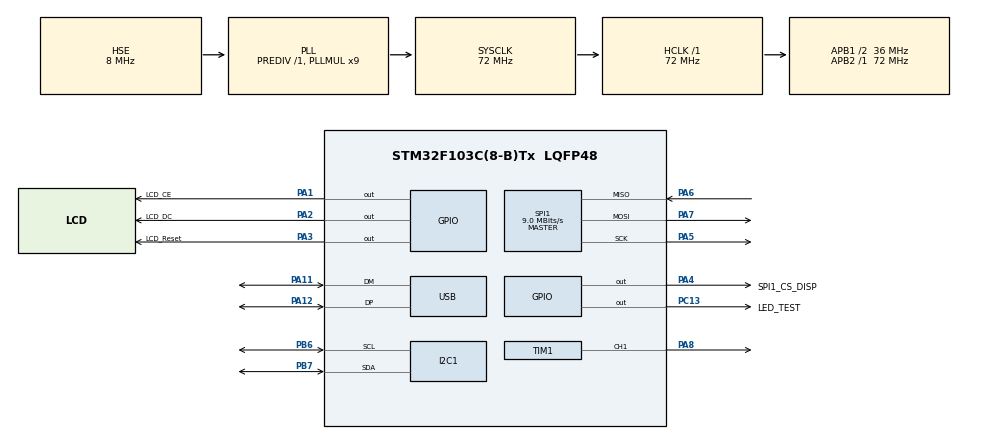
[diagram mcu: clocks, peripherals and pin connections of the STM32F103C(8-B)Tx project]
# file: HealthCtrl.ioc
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Mcu.Family=STM32F1
Mcu.Name=STM32F103C(8-B)Tx
Mcu.Package=LQFP48
NVIC.PriorityGroup=NVIC_PRIORITYGROUP_4
NVIC.USB_LP_CAN1_RX0_IRQn=true\:0\:0\:false\:false\:true\:false\:true\:true
PA1.GPIO_Label=LCD_CE
PA1.Signal=GPIO_Output
PA11.Mode=Device
PA11.Signal=USB_DM
PA12.Mode=Device
PA12.Signal=USB_DP
PA13.Mode=Trace_Asynchronous_SW
PA13.Signal=SYS_JTMS-SWDIO
PA14.Mode=Trace_Asynchronous_SW
PA14.Signal=SYS_JTCK-SWCLK
PA2.GPIO_Label=LCD_DC
PA2.Signal=GPIO_Output
PA3.GPIO_Label=LCD_Reset
PA3.Signal=GPIO_Output
PA4.GPIO_Label=SPI1_CS_DISP
PA4.Signal=GPIO_Output
PA5.Mode=Full_Duplex_Master
PA5.Signal=SPI1_SCK
PA6.Mode=Full_Duplex_Master
PA6.Signal=SPI1_MISO
PA7.Mode=Full_Duplex_Master
PA7.Signal=SPI1_MOSI
PA8.Signal=S_TIM1_CH1
PB3.Mode=Trace_Asynchronous_SW
PB3.Signal=SYS_JTDO-TRACESWO
PB6.GPIO_Pu=GPIO_PULLUP
PB6.Mode=I2C
PB6.Signal=I2C1_SCL
PB7.GPIO_Pu=GPIO_PULLUP
PB7.Mode=I2C
PB7.Signal=I2C1_SDA
PC13-TAMPER-RTC.GPIO_Label=LED_TEST
PC13-TAMPER-RTC.Signal=GPIO_Output
PD0-OSC_IN.Mode=HSE-External-Oscillator
PD0-OSC_IN.Signal=RCC_OSC_IN
PD1-OSC_OUT.Mode=HSE-External-Oscillator
PD1-OSC_OUT.Signal=RCC_OSC_OUT
ProjectManager.HeapSize=0x200
ProjectManager.StackSize=0x400
ProjectManager.TargetToolchain=STM32CubeIDE
RCC.AHBFreq_Value=72000000
RCC.APB1CLKDivider=RCC_HCLK_DIV2
RCC.APB1Freq_Value=36000000
RCC.APB1TimFreq_Value=72000000
RCC.APB2Freq_Value=72000000
RCC.APB2TimFreq_Value=72000000
RCC.HCLKFreq_Value=72000000
RCC.PLLMUL=RCC_PLL_MUL9
RCC.PLLSourceVirtual=RCC_PLLSOURCE_HSE
RCC.SYSCLKFreq_VALUE=72000000
RCC.SYSCLKSource=RCC_SYSCLKSOURCE_PLLCLK
RCC.USBFreq_Value=48000000
RCC.USBPrescaler=RCC_USBCLKSOURCE_PLL_DIV1_5
SH.S_TIM1_CH1.0=TIM1_CH1,PWM Generation1 CH1
SPI1.BaudRatePrescaler=SPI_BAUDRATEPRESCALER_8
SPI1.CalculateBaudRate=9.0 MBits/s
SPI1.Direction=SPI_DIRECTION_2LINES
SPI1.Mode=SPI_MODE_MASTER
SPI1.VirtualType=VM_MASTER
TIM1.Channel-PWM\ Generation1\ CH1=TIM_CHANNEL_1
TIM1.OCFastMode_PWM-PWM\ Generation1\ CH1=TIM_OCFAST_ENABLE
TIM1.Period=18000
USB_DEVICE.CLASS_NAME_FS=CDC
USB_DEVICE.VirtualMode=Cdc
USB_DEVICE.VirtualModeFS=Cdc_FS
VP_USB_DEVICE_VS_USB_DEVICE_CDC_FS.Mode=CDC_FS
board=custom

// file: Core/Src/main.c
/* USER CODE BEGIN Header */
/**
 ******************************************************************************
 * @file           : main.c
 * @brief          : Main program body
 ******************************************************************************
 * @attention
 *
 * Copyright (c) 2022 STMicroelectronics.
 * All rights reserved.
 *
 * This software is licensed under terms that can be found in the LICENSE file
 * in the root directory of this software component.
 * If no LICENSE file comes with this software, it is provided AS-IS.
 *
 ******************************************************************************
 */
/* USER CODE END Header */
#include "main.h"
#include "usb_device.h"

/* USER CODE BEGIN Includes */
#include "bmp280.h"
#include "lcd5110.h"
#include <math.h>
#include "usbd_cdc_if.h"
/* USER CODE END Includes */

I2C_HandleTypeDef hi2c1;

SPI_HandleTypeDef hspi1;

TIM_HandleTypeDef htim1;

void SystemClock_Config(void);
static void MX_GPIO_Init(void);
static void MX_I2C1_Init(void);
static void MX_SPI1_Init(void);
static void MX_TIM1_Init(void);
/* USER CODE BEGIN PFP */

// define the temperature status
typedef enum
{
	tmp_none = 0,	// Temperature is not defined
	tmp_norma,  	// Temperature is normal
	tmp_warningL,	// Temperature is warning below zero
	tmp_warningH,	// Temperature is warning above zero
	tmp_alarmL,		// Temperature is alarm below zero
	tmp_alarmH,		// Temperature is alarm above zero
} TemperatureStatus;

// define the pressure status
typedef enum
{
	prs_none = 0,	// Pressure is not defined
	prs_norma,  	// Pressure is normal
	prs_warningL,	// Pressure is warning low
	prs_warningH,	// Pressure is warning high
	prs_alarmL,		// Pressure is alarm low
	prs_alarmH,		// Pressure is alarm high
} PressureStatus;

// define the Altitude status
typedef enum
{
	alt_none = 0,	// Altitude is not defined
	alt_norma,  	// Altitude is normal
	alt_warning,	// Altitude is warning
	alt_alarm,		// Altitude is alarm

} AltitudeStatus;

// define the buzzer status
typedef enum
{
	buzzer_off = 0,		//buzzer in off mode
	buzzer_Warning,  	// buzzer in warning mode
	buzzer_Alram,		// buzzer in alarm mode

} BuzzerStatus;

const uint8_t bmp280_cntErr_max = 10; /*<Store the max counter value for error exchange with bmp280*/

const float temper_Warning_L = -30; /*<Store the warning value of temperature below zero*/
const float temper_Alaram_L = -40; /*<Store the warning value of temperature below zero*/

const float temper_Warning_H = 40; /*<Store the warning value of temperature above zero*/
const float temper_Alaram_H = 45; /*<Store the warning value of temperature above zero*/

const float pressure_Warning_H = 760; /*<Store the warning value of pressure high*/
const float pressure_Alaram_H = 770; /*<Store the warning value of pressure high*/

const float pressure_Warning_L = 650; /*<Store the warning value of pressure low*/
const float pressure_Alaram_L = 640; /*<Store the alarm value of pressure low*/

const float altitude_Warning = 3000; /*<Store the warning value of altitude*/
const float altitude_Alaram = 3500; /*<Store the alarm value of altitude*/

uint8_t time_1msIsPassed;
BuzzerStatus buzzerStatus;
/* USER CODE END PFP */

/* USER CODE BEGIN 0 */
TemperatureStatus Temperature_DoAnalyze(float temperature);
PressureStatus Pressure_DoAnalyze(float pressure);
AltitudeStatus Altitude_DoAnalyze(float altitude);

float Altitude_GetValue(float pressure, float temperature_C);
float Oxygen_GetValue(float pressure);

void Buzzer_Warning_TurnON();
void Buzzer_Alarm_TurnOn();
void Buzzer_TurnOff();

void Terminal_SendData(int16_t temperature, uint16_t pressure,
		uint16_t altitude, uint16_t oxygen);
void LCD_SendData(int16_t temperature, uint16_t pressure, uint16_t altitude,
		uint16_t oxygen, BuzzerStatus buzzerStatus);
/* USER CODE END 0 */

int main(void)
{
	/* USER CODE BEGIN 1 */

	/*
	 * htim1 - PWM signal to buzzer.
	 * hi2c1 - communicate with BMP280 sensor.
	 * hspi1 - communicate with display PCD8544
	 *
	 */
	/* USER CODE END 1 */

	/* MCU Configuration--------------------------------------------------------*/

	/* Reset of all peripherals, Initializes the Flash interface and the Systick. */
	HAL_Init();

	/* Configure the system clock */
	SystemClock_Config();

	/* USER CODE BEGIN SysInit */
	// Do delay before init peripheral
	HAL_Delay(2000);
	/* USER CODE END SysInit */

	/* Initialize all configured peripherals */
	MX_GPIO_Init();
	MX_I2C1_Init();
	MX_SPI1_Init();
	MX_TIM1_Init();
	MX_USB_DEVICE_Init();
	/* USER CODE BEGIN 2 */

	uint8_t bmp280_cntErr = 0;
	uint8_t time_cnt1ms;
	uint8_t time_cnt100ms;

	TemperatureStatus tmpStatus = tmp_none;
	PressureStatus prsStatus = prs_none;
	AltitudeStatus altStatus = alt_none;

	unsigned char str[] = "Hello User! ";
	float altitude_m; /*<altitude value in meters >*/
	float oxygen; /*< oxygen mmHg Art.*/

	BMP280 myBMP280;

	if (BMP280_Init(&hi2c1, &myBMP280) != HAL_OK)
	{
		// Sensor is error
		// Led Turn ON
		bmp280_cntErr = bmp280_cntErr_max;

		// Turn ON LED,
		HAL_GPIO_WritePin(LED_TEST_GPIO_Port, LED_TEST_Pin, GPIO_PIN_SET);
	}

	LcdInit();
	LcdClear();

	LcdGotoXYFont(1, 1);
	LcdStr(FONT_1X, str);

	LcdUpdate();

	/* USER CODE END 2 */

	/* Infinite loop */
	/* USER CODE BEGIN WHILE */
	while (1)
	{

		if (time_1msIsPassed == 1)
		{
			time_1msIsPassed = 0;

			// 1 ms is passed

			if (++time_cnt1ms >= 100)
			{
				time_cnt1ms = 0;

				// 100 ms is passed

				if (++time_cnt100ms >= 10)
				{
					time_cnt100ms = 0;

					// 1 second is passed

					if (BMP280_GetNewValue(&hi2c1, &myBMP280) == HAL_OK)
					{
						// Reset counter of errors
						bmp280_cntErr = 0;

						// Change LED state, Exchange with sensor is OK
						HAL_GPIO_TogglePin(LED_TEST_GPIO_Port, LED_TEST_Pin);

						altitude_m = Altitude_GetValue(myBMP280.pressure_mm,
								myBMP280.temperature_C);

						oxygen = Oxygen_GetValue(myBMP280.pressure_mm);

						tmpStatus = Temperature_DoAnalyze(
								myBMP280.temperature_C);
						prsStatus = Pressure_DoAnalyze(myBMP280.pressure_mm);

						altStatus = Altitude_DoAnalyze(altitude_m);

						if ((tmpStatus > tmp_norma) || (prsStatus > prs_norma)
								|| (altStatus > alt_norma))
						{
							if ((tmpStatus >= tmp_alarmL)
									|| (prsStatus >= prs_alarmL)
									|| (altStatus >= alt_alarm))
							{
								// we have a Alarm situation
								Buzzer_Alarm_TurnOn();

							}
							else
							{
								// we have a Warning situation
								Buzzer_Warning_TurnON();
							}
						}
						else
						{
							// Value temperature and pressure is normal
							Buzzer_TurnOff();
						}

					}
					else
					{
						if (++bmp280_cntErr >= bmp280_cntErr_max)
						{
							bmp280_cntErr = bmp280_cntErr_max;
							// Turn ON LED, Exchange with sensor is ERROR
							HAL_GPIO_WritePin(LED_TEST_GPIO_Port,
							LED_TEST_Pin, GPIO_PIN_SET);

							// Do reinit communication with sensor
							BMP280_Init(&hi2c1, &myBMP280);

							// Turn off buzzer, we don't know value
							Buzzer_TurnOff();
						}
					}

					Terminal_SendData(myBMP280.temperature_C,
							myBMP280.pressure_mm, altitude_m, oxygen);
					LCD_SendData(myBMP280.temperature_C, myBMP280.pressure_mm,
							altitude_m, oxygen, buzzerStatus);

				}
			}
		}
		/* USER CODE END WHILE */

	}
}

void SystemClock_Config(void)
{
	RCC_OscInitTypeDef RCC_OscInitStruct =
	{ 0 };
	RCC_ClkInitTypeDef RCC_ClkInitStruct =
	{ 0 };
	RCC_PeriphCLKInitTypeDef PeriphClkInit =
	{ 0 };

	/** Initializes the RCC Oscillators according to the specified parameters
	 * in the RCC_OscInitTypeDef structure.
	 */
	RCC_OscInitStruct.OscillatorType = RCC_OSCILLATORTYPE_HSE;
	RCC_OscInitStruct.HSEState = RCC_HSE_ON;
	RCC_OscInitStruct.HSEPredivValue = RCC_HSE_PREDIV_DIV1;
	RCC_OscInitStruct.HSIState = RCC_HSI_ON;
	RCC_OscInitStruct.PLL.PLLState = RCC_PLL_ON;
	RCC_OscInitStruct.PLL.PLLSource = RCC_PLLSOURCE_HSE;
	RCC_OscInitStruct.PLL.PLLMUL = RCC_PLL_MUL9;
	if (HAL_RCC_OscConfig(&RCC_OscInitStruct) != HAL_OK)
	{
		Error_Handler();
	}

	/** Initializes the CPU, AHB and APB buses clocks
	 */
	RCC_ClkInitStruct.ClockType = RCC_CLOCKTYPE_HCLK | RCC_CLOCKTYPE_SYSCLK
			| RCC_CLOCKTYPE_PCLK1 | RCC_CLOCKTYPE_PCLK2;
	RCC_ClkInitStruct.SYSCLKSource = RCC_SYSCLKSOURCE_PLLCLK;
	RCC_ClkInitStruct.AHBCLKDivider = RCC_SYSCLK_DIV1;
	RCC_ClkInitStruct.APB1CLKDivider = RCC_HCLK_DIV2;
	RCC_ClkInitStruct.APB2CLKDivider = RCC_HCLK_DIV1;

	if (HAL_RCC_ClockConfig(&RCC_ClkInitStruct, FLASH_LATENCY_2) != HAL_OK)
	{
		Error_Handler();
	}
	PeriphClkInit.PeriphClockSelection = RCC_PERIPHCLK_USB;
	PeriphClkInit.UsbClockSelection = RCC_USBCLKSOURCE_PLL_DIV1_5;
	if (HAL_RCCEx_PeriphCLKConfig(&PeriphClkInit) != HAL_OK)
	{
		Error_Handler();
	}
}

static void MX_I2C1_Init(void)
{

	hi2c1.Instance = I2C1;
	hi2c1.Init.ClockSpeed = 100000;
	hi2c1.Init.DutyCycle = I2C_DUTYCYCLE_2;
	hi2c1.Init.OwnAddress1 = 0;
	hi2c1.Init.AddressingMode = I2C_ADDRESSINGMODE_7BIT;
	hi2c1.Init.DualAddressMode = I2C_DUALADDRESS_DISABLE;
	hi2c1.Init.OwnAddress2 = 0;
	hi2c1.Init.GeneralCallMode = I2C_GENERALCALL_DISABLE;
	hi2c1.Init.NoStretchMode = I2C_NOSTRETCH_DISABLE;
	if (HAL_I2C_Init(&hi2c1) != HAL_OK)
	{
		Error_Handler();
	}

}

static void MX_SPI1_Init(void)
{

	/* SPI1 parameter configuration*/
	hspi1.Instance = SPI1;
	hspi1.Init.Mode = SPI_MODE_MASTER;
	hspi1.Init.Direction = SPI_DIRECTION_2LINES;
	hspi1.Init.DataSize = SPI_DATASIZE_8BIT;
	hspi1.Init.CLKPolarity = SPI_POLARITY_LOW;
	hspi1.Init.CLKPhase = SPI_PHASE_1EDGE;
	hspi1.Init.NSS = SPI_NSS_SOFT;
	hspi1.Init.BaudRatePrescaler = SPI_BAUDRATEPRESCALER_8;
	hspi1.Init.FirstBit = SPI_FIRSTBIT_MSB;
	hspi1.Init.TIMode = SPI_TIMODE_DISABLE;
	hspi1.Init.CRCCalculation = SPI_CRCCALCULATION_DISABLE;
	hspi1.Init.CRCPolynomial = 10;
	if (HAL_SPI_Init(&hspi1) != HAL_OK)
	{
		Error_Handler();
	}

}

static void MX_TIM1_Init(void)
{

	TIM_MasterConfigTypeDef sMasterConfig =
	{ 0 };
	TIM_OC_InitTypeDef sConfigOC =
	{ 0 };
	TIM_BreakDeadTimeConfigTypeDef sBreakDeadTimeConfig =
	{ 0 };

	/* USER CODE BEGIN TIM1_Init 1 */
	/*
	 * Fckltim 72 MHz
	 *
	 * Fckl buzzer = 4 kHz
	 *
	 *  Period = 72 MHz / 4kHz = 18000
	 */
	/* USER CODE END TIM1_Init 1 */
	htim1.Instance = TIM1;
	htim1.Init.Prescaler = 0;
	htim1.Init.CounterMode = TIM_COUNTERMODE_UP;
	htim1.Init.Period = 18000;
	htim1.Init.ClockDivision = TIM_CLOCKDIVISION_DIV1;
	htim1.Init.RepetitionCounter = 0;
	htim1.Init.AutoReloadPreload = TIM_AUTORELOAD_PRELOAD_DISABLE;
	if (HAL_TIM_PWM_Init(&htim1) != HAL_OK)
	{
		Error_Handler();
	}
	sMasterConfig.MasterOutputTrigger = TIM_TRGO_RESET;
	sMasterConfig.MasterSlaveMode = TIM_MASTERSLAVEMODE_DISABLE;
	if (HAL_TIMEx_MasterConfigSynchronization(&htim1, &sMasterConfig) != HAL_OK)
	{
		Error_Handler();
	}
	sConfigOC.OCMode = TIM_OCMODE_PWM1;
	sConfigOC.Pulse = 1;
	sConfigOC.OCPolarity = TIM_OCPOLARITY_HIGH;
	sConfigOC.OCNPolarity = TIM_OCNPOLARITY_HIGH;
	sConfigOC.OCFastMode = TIM_OCFAST_ENABLE;
	sConfigOC.OCIdleState = TIM_OCIDLESTATE_RESET;
	sConfigOC.OCNIdleState = TIM_OCNIDLESTATE_RESET;
	if (HAL_TIM_PWM_ConfigChannel(&htim1, &sConfigOC, TIM_CHANNEL_1) != HAL_OK)
	{
		Error_Handler();
	}
	sBreakDeadTimeConfig.OffStateRunMode = TIM_OSSR_DISABLE;
	sBreakDeadTimeConfig.OffStateIDLEMode = TIM_OSSI_DISABLE;
	sBreakDeadTimeConfig.LockLevel = TIM_LOCKLEVEL_OFF;
	sBreakDeadTimeConfig.DeadTime = 0;
	sBreakDeadTimeConfig.BreakState = TIM_BREAK_DISABLE;
	sBreakDeadTimeConfig.BreakPolarity = TIM_BREAKPOLARITY_HIGH;
	sBreakDeadTimeConfig.AutomaticOutput = TIM_AUTOMATICOUTPUT_DISABLE;
	if (HAL_TIMEx_ConfigBreakDeadTime(&htim1, &sBreakDeadTimeConfig) != HAL_OK)
	{
		Error_Handler();
	}
	HAL_TIM_MspPostInit(&htim1);

}

static void MX_GPIO_Init(void)
{
	GPIO_InitTypeDef GPIO_InitStruct =
	{ 0 };

	/* GPIO Ports Clock Enable */
	__HAL_RCC_GPIOC_CLK_ENABLE();
	__HAL_RCC_GPIOD_CLK_ENABLE();
	__HAL_RCC_GPIOA_CLK_ENABLE();
	__HAL_RCC_GPIOB_CLK_ENABLE();

	/*Configure GPIO pin Output Level */
	HAL_GPIO_WritePin(LED_TEST_GPIO_Port, LED_TEST_Pin, GPIO_PIN_RESET);

	/*Configure GPIO pin Output Level */
	HAL_GPIO_WritePin(GPIOA,
	LCD_CE_Pin | LCD_DC_Pin | LCD_Reset_Pin | SPI1_CS_DISP_Pin, GPIO_PIN_RESET);

	/*Configure GPIO pin : LED_TEST_Pin */
	GPIO_InitStruct.Pin = LED_TEST_Pin;
	GPIO_InitStruct.Mode = GPIO_MODE_OUTPUT_PP;
	GPIO_InitStruct.Pull = GPIO_NOPULL;
	GPIO_InitStruct.Speed = GPIO_SPEED_FREQ_LOW;
	HAL_GPIO_Init(LED_TEST_GPIO_Port, &GPIO_InitStruct);

	/*Configure GPIO pins : LCD_CE_Pin LCD_DC_Pin LCD_Reset_Pin SPI1_CS_DISP_Pin */
	GPIO_InitStruct.Pin = LCD_CE_Pin | LCD_DC_Pin | LCD_Reset_Pin
			| SPI1_CS_DISP_Pin;
	GPIO_InitStruct.Mode = GPIO_MODE_OUTPUT_PP;
	GPIO_InitStruct.Pull = GPIO_NOPULL;
	GPIO_InitStruct.Speed = GPIO_SPEED_FREQ_LOW;
	HAL_GPIO_Init(GPIOA, &GPIO_InitStruct);

}

/* USER CODE BEGIN 4 */

/**
 * @brief  Perform analyze value of temperature
 *
 * @param float temperature - current value of temperature
 *
 * @retval @TemperatureStatus
 */
TemperatureStatus Temperature_DoAnalyze(float temperature)
{
	if (temperature > 0)
	{
		if (temperature >= temper_Alaram_H)
		{
			// Alarm high temperature
			return tmp_alarmH;
		}
		else
		{
			if (temperature >= temper_Warning_H)
			{
				// warning high temperature
				return tmp_warningH;
			}
		}
	}
	else
	{
		if (temperature <= temper_Alaram_L)
		{
			// Alarm low temperature
			return tmp_alarmL;
		}
		else
		{
			if (temperature <= temper_Warning_L)
			{
				// warning  low temperature

				return tmp_warningL;
			}
		}
	}

	// Temperature is normal

	return tmp_norma;
}

/**
 * @brief  Perform analyze value of pressure
 *
 * @param float pressure - current value of pressure
 *
 * @retval @PressureStatus
 */
PressureStatus Pressure_DoAnalyze(float pressure)
{
	if (pressure > 0)
	{
		if (pressure >= pressure_Alaram_H)
		{
			// Alarm high pressure
			return prs_alarmH;
		}
		else
		{
			if (pressure >= pressure_Warning_H)
			{
				// warning high pressure
				return prs_warningH;
			}
		}
	}
	else
	{
		if (pressure <= pressure_Alaram_L)
		{
			// Alarm low pressure
			return prs_alarmL;
		}
		else
		{
			if (pressure <= pressure_Warning_L)
			{
				// warning  low pressure

				return prs_warningL;
			}
		}
	}

	// pressure is normal

	return tmp_norma;
}

/**
 * @brief  Perform analyze value of Altitude
 *
 * @param float altitude - current value of pressure
 *
 * @retval @AltitudeStatus
 */
AltitudeStatus Altitude_DoAnalyze(float altitude)
{
	if (altitude >= altitude_Alaram)
	{
		return alt_alarm;
	}
	else
	{
		if (altitude >= altitude_Warning)
		{
			return alt_warning;
		}
	}

	return alt_norma;
}
/**
 * @brief  Calculate Altitude according to pressure and temperature
 *
 * @param float pressure - current pressure (mmHg)
 *
 * @param float temperature_C - current temperature (C)
 *
 * @retval Altitude float value
 */
float Altitude_GetValue(float pressure, float temperature_C)
{
	// P= P0*e^((-M * g * h)/ (R * T)
	// T - absolute air temperature
	// R - universal gas constant, R = 8.31 J/mol K;
	// h - height, m
	// g - free fall acceleration, g = 9.81 m/s²;
	// M - molar mass of dry air, M = 0.029 kg/mol;
	// P0 - pressure at sea level [Pa];  1 mmHg = 133.322 Pa 760 mm =1 01324.72
	// P - current @pressure_Pa

	float coef1 = (-0.029 * 9.81) / (8.31 * (temperature_C + 273.15));

	float myln = log(pressure / 760.0);

	return (myln / coef1);
}

/**
 * @brief  Calculate Oxygen  according to pressure
 *
 * @param float pressure - current pressure (mmHg Art)
 *
 *
 * @retval Oxygen float value mmHg Art
 */
float Oxygen_GetValue(float pressure)
{
	// oxygen is at any height 20.9%
	return (pressure * 20.9 / 100.0);
}

/**
 * @brief  Turn on buzzer warning signal
 * @retval None
 */
void Buzzer_Warning_TurnON()
{
	//Check the buzzer status
	if (buzzerStatus != buzzer_Warning)
	{
		buzzerStatus = buzzer_Warning;
		/*
		 * Fckltim 72 MHz
		 *
		 * Fckl buzzer = 4 kHz
		 *
		 *  Period = 72 MHz / 4kHz = 18000
		 */
		// Set duty 20% for PWM signal on buzzer  and 4 kHz
		// duty cycle determines the loudness. 50% duty cycle 100% volume
		TIM1->ARR = 18000;
		TIM1->CCR1 = TIM1->ARR - (uint32_t) ((float) TIM1->ARR * 0.2);

		HAL_TIM_PWM_Start(&htim1, TIM_CHANNEL_1);

	}
}

/**
 * @brief Turn on buzzer Alarm signal
 * @retval None
 */
void Buzzer_Alarm_TurnOn()
{
	// Check the buzzer status
	if (buzzerStatus != buzzer_Alram)
	{
		buzzerStatus = buzzer_Alram;
		/*
		 * Fckltim 72 MHz
		 *
		 * Fckl buzzer = 6 kHz
		 *
		 *  Period = 72 MHz / 6kHz = 12000
		 */
		// Set duty 40% for PWM signal on buzzer and 6 kHz
		// duty cycle determines the loudness. 50% duty cycle 100% volume
		//
		TIM1->ARR = 12000;
		TIM1->CCR1 = TIM1->ARR - (uint32_t) ((float) TIM1->ARR * 0.4);

		HAL_TIM_PWM_Start(&htim1, TIM_CHANNEL_1);
	}
}

/**
 * @brief Turn off buzzer
 * @retval None
 */
void Buzzer_TurnOff()
{
	buzzerStatus = buzzer_off;
	HAL_TIM_PWM_Stop(&htim1, TIM_CHANNEL_1);
	TIM1->CCR1 = 0;

}

/**
 * @brief Transmint data from usb
 *
 * @param int16_t temperature - current value of temperature
 *
 * @param uint16_t pressure - current value of pressure
 *
 * @param uint16_t altitude - current value of altitude
 *
 * @param uint16_t oxygen - current value of oxygen
 *
 * @retval None
 */
void Terminal_SendData(int16_t temperature, uint16_t pressure,
		uint16_t altitude, uint16_t oxygen)
{
	uint8_t tempData[6];

	// Tx temperature value
	uint8_t tempName[] = "Temperature is : ";

	CDC_Transmit_FS(tempName, sizeof(tempName));
	sprintf(tempData, "%d", temperature);
	tempData[5] = '\n';
	CDC_Transmit_FS(tempData, sizeof(tempData));

	// Tx pressure value
	sprintf(tempName, "%c", "Pressure is:");
	CDC_Transmit_FS(tempName, sizeof(tempName));
	sprintf(tempData, "%d", pressure);
	tempData[5] = '\n';
	CDC_Transmit_FS(tempData, sizeof(tempData));

	// Tx altitude value
	sprintf(tempName, "%c", "Altitude is:");
	CDC_Transmit_FS(tempName, sizeof(tempName));
	sprintf(tempData, "%d", altitude);
	tempData[5] = '\n';
	CDC_Transmit_FS(tempData, sizeof(tempData));

	// Tx oxygen value
	sprintf(tempName, "%c", "Oxygen is:");
	CDC_Transmit_FS(tempName, sizeof(tempName));
	sprintf(tempData, "%d", oxygen);
	tempData[5] = '\n';
	CDC_Transmit_FS(tempData, sizeof(tempData));

}

/**
 * @brief Transmint data from LCD
 *
 * @param int16_t temperature - current value of temperature
 *
 * @param uint16_t pressure - current value of pressure
 *
 * @param uint16_t altitude - current value of altitude
 *
 * @param uint16_t oxygen - current value of oxygen
 *
 * @param BuzzerStatus buzzerStatus - buzzer status
 *
 * @retval None
 */
void LCD_SendData(int16_t temperature, uint16_t pressure, uint16_t altitude,
		uint16_t oxygen, BuzzerStatus buzzerStatus)
{
	unsigned char str[16];

	LcdClear();

	// Print Buzzer values on LCD

	if (buzzerStatus == buzzer_Warning)
	{
		LcdGotoXYFont(0, 0);
		LcdStr(FONT_1X, (unsigned char*) "  WARNING!!!");

	}
	else
	{
		if (buzzerStatus == buzzer_Alram)
		{
			LcdGotoXYFont(0, 0);
			LcdStr(FONT_1X, (unsigned char*) "  ALARM!!!");
		}
	}

	// Print Temperature values on LCD
	LcdGotoXYFont(0, 1);
	LcdStr(FONT_1X, (unsigned char*) "Temperat");

	LcdGotoXYFont(10, 1);
	sprintf(str, "%d", temperature);
	LcdStr(FONT_1X, str);

	// Print Pressure values on LCD
	LcdGotoXYFont(0, 2);
	LcdStr(FONT_1X, (unsigned char*) "Pressure");

	LcdGotoXYFont(10, 2);
	sprintf(str, "%d", pressure);
	LcdStr(FONT_1X, str);

	// Print Altitude values on LCD
	LcdGotoXYFont(0, 3);
	LcdStr(FONT_1X, (unsigned char*) "Altitude");

	LcdGotoXYFont(10, 3);
	sprintf(str, "%d", altitude);
	LcdStr(FONT_1X, str);

	// Print Oxygen values on LCD
	LcdGotoXYFont(0, 4);
	LcdStr(FONT_1X, (unsigned char*) "Oxygen");

	LcdGotoXYFont(10, 4);
	sprintf(str, "%d", oxygen);
	LcdStr(FONT_1X, str);

	LcdUpdate();
}
/* USER CODE END 4 */

void Error_Handler(void)
{
	__disable_irq();
	while (1)
	{
	}
}
